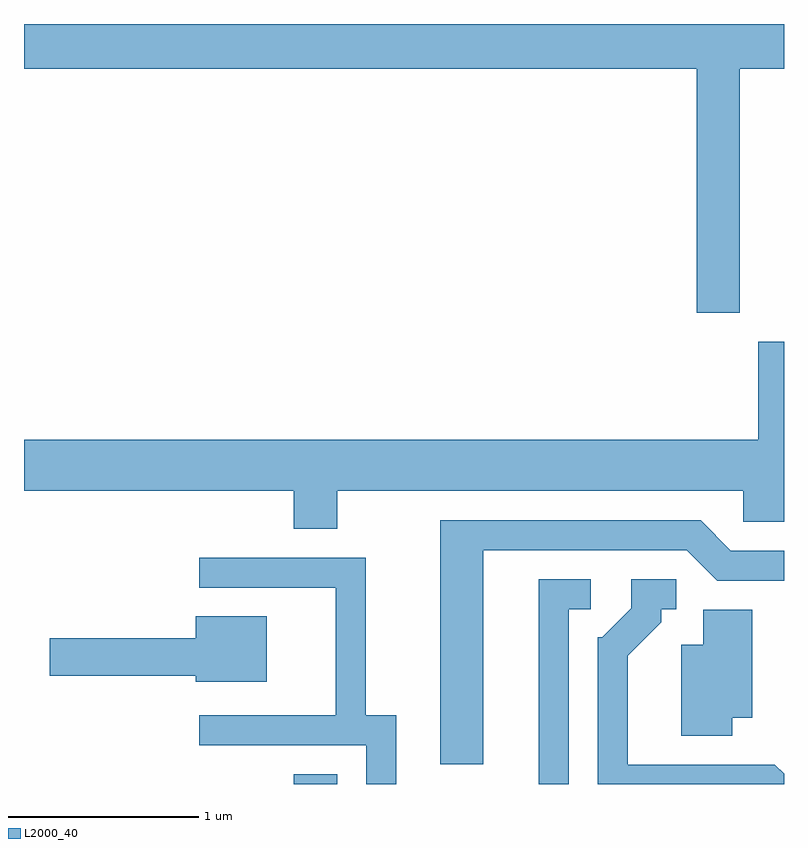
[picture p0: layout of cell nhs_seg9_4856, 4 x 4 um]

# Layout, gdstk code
import gdstk
lib = gdstk.Library(unit=1e-6, precision=1e-09)
def R(c, l, rs):  # rectangles x0, y0, x1, y1
    for r in rs: c.add(gdstk.rectangle(r[:2], r[2:], *l))
def P(c, l, *ps):  # polygons
    for p in ps: c.add(gdstk.Polygon(p, *l))
L2000_40 = (2000, 40)

nhs_seg9_4856 = lib.new_cell('nhs_seg9_4856')
R(nhs_seg9_4856, L2000_40, [(329.031,2052.432,329.259,2052.484)])
P(nhs_seg9_4856, L2000_40, [(331.379,2056.196),(331.611,2056.196),(331.611,2056.432),(327.611,2056.432),(327.611,2056.196),(331.151,2056.196),(331.151,2054.911),(331.379,2054.911)],
  [(331.611,2054.759),(331.476,2054.759),(331.476,2054.244),(327.611,2054.244),(327.611,2053.976),(329.031,2053.976),(329.031,2053.776),(329.259,2053.776),(329.259,2053.976),(331.396,2053.976),(331.396,2053.811),(331.611,2053.811)],
  [(330.029,2053.661),(331.099,2053.661),(331.259,2053.501),(331.611,2053.501),(331.611,2053.659),(331.332,2053.659),(331.172,2053.819),(329.801,2053.819),(329.801,2052.536),(330.029,2052.536)],
  [(329.569,2052.794),(329.409,2052.794),(329.409,2053.624),(328.533,2053.624),(328.533,2053.466),(329.251,2053.466),(329.251,2052.794),(328.533,2052.794),(328.533,2052.636),(329.411,2052.636),(329.411,2052.432),(329.569,2052.432)],
  [(330.479,2053.351),(330.593,2053.351),(330.593,2053.509),(330.321,2053.509),(330.321,2052.432),(330.479,2052.432)],
  [(331.611,2052.485),(331.562,2052.534),(330.789,2052.534),(330.789,2053.108),(330.964,2053.284),(330.964,2053.351),(331.043,2053.351),(331.043,2053.509),(330.806,2053.509),(330.806,2053.356),(330.654,2053.204),(330.631,2053.204),(330.631,2052.432),(331.611,2052.432)],
  [(331.339,2052.781),(331.444,2052.781),(331.444,2053.349),(331.186,2053.349),(331.186,2053.164),(331.071,2053.164),(331.071,2052.686),(331.339,2052.686)],
  [(328.889,2053.314),(328.516,2053.314),(328.516,2053.199),(327.746,2053.199),(327.746,2053.001),(328.516,2053.001),(328.516,2052.971),(328.889,2052.971)])

lib.write_gds('nhs_seg9_4856.gds')
